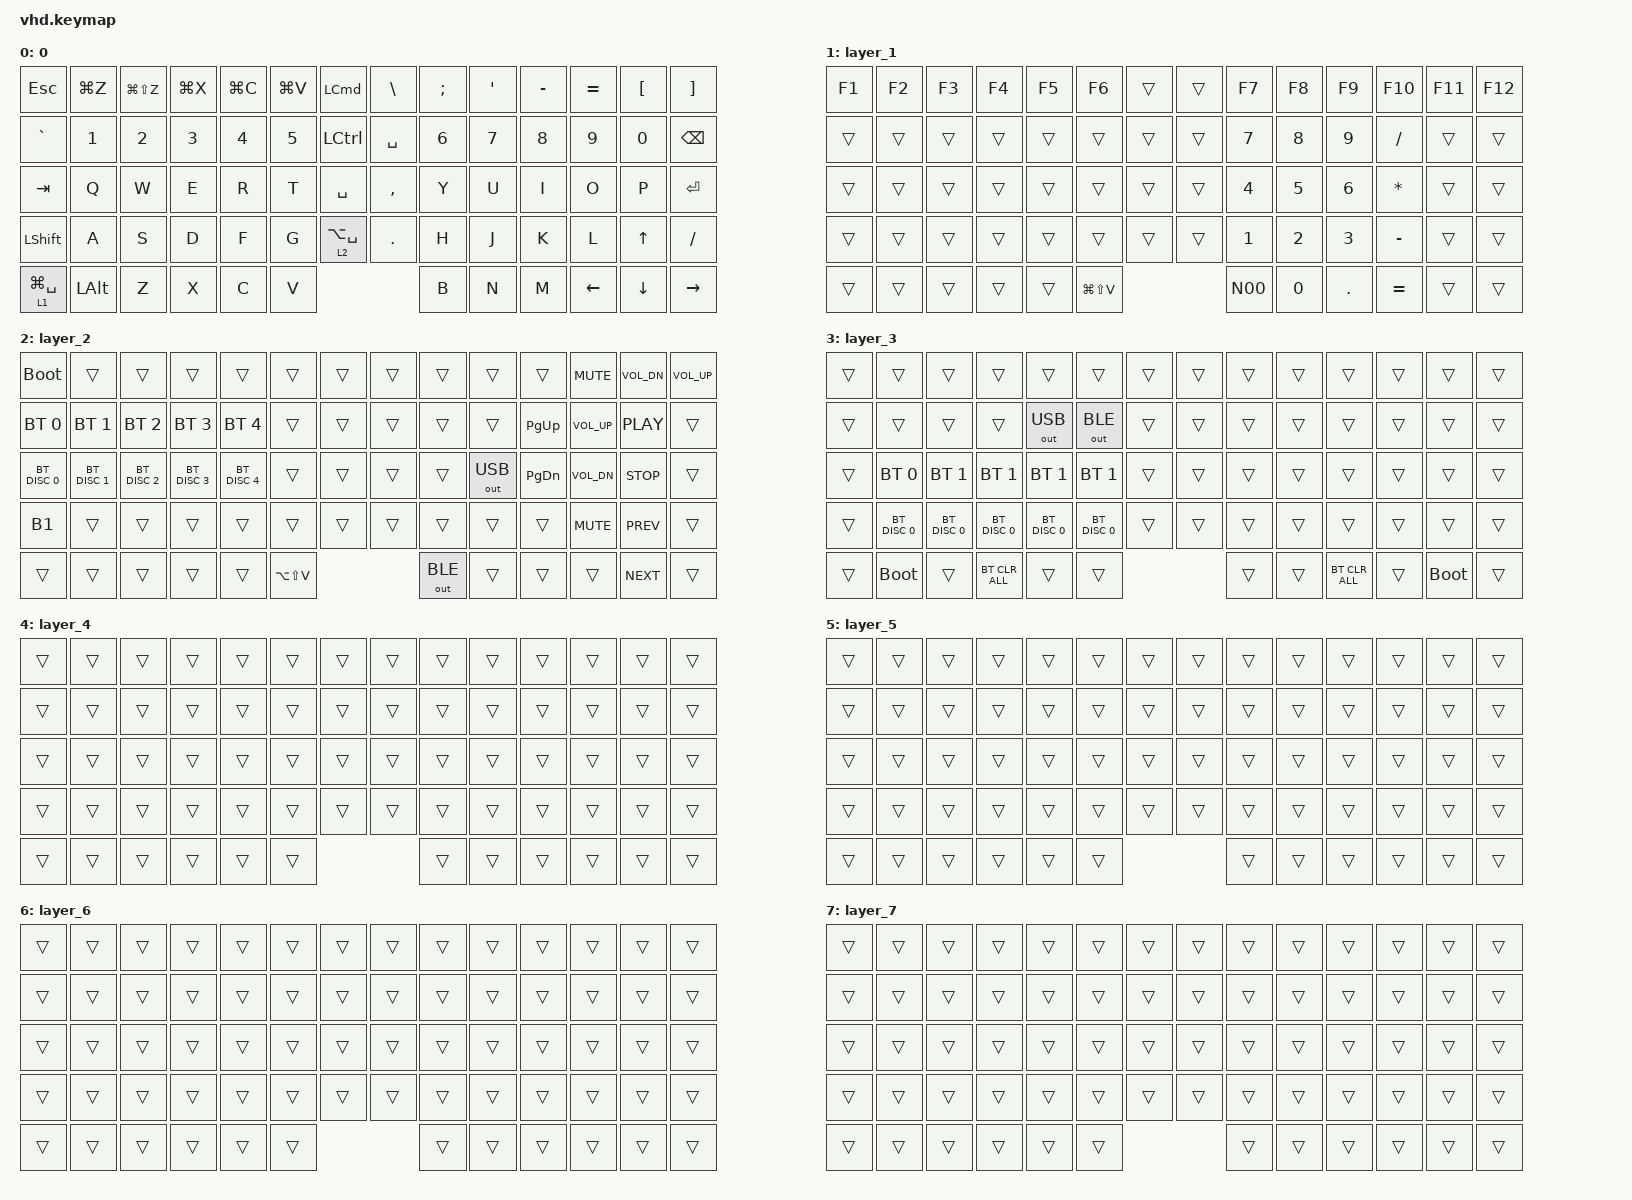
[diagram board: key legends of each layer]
/*
* Copyright (c) 2025 VEXC HOW DESIGN
* Copyright (c) 2020 The ZMK Contributors
*
* SPDX-License-Identifier: MIT
*/
/* THIS FILE WAS GENERATED!
*
* This file was generated automatically. You may or may not want to
* edit it directly.
*/

#include <dt-bindings/zmk/mouse.h>
#include <behaviors.dtsi>
#include <dt-bindings/zmk/bt.h>
#include <dt-bindings/zmk/keys.h>
#include <dt-bindings/zmk/outputs.h>

/ {
    macros {
        N00: N00 {
            compatible = "zmk,behavior-macro";
            #binding-cells = <0>;
            bindings = <&kp N0 &kp N0>;
            label = "N00";
        };

        A1: A1 {
            compatible = "zmk,behavior-macro";
            #binding-cells = <0>;
            bindings = <&kp NUMBER_1 &kp ENTER>;
            label = "A1";
        };

        A2: A2 {
            compatible = "zmk,behavior-macro";
            #binding-cells = <0>;
            bindings = <&kp NUMBER_2 &kp ENTER>;
            label = "A2";
        };

        A3: A3 {
            compatible = "zmk,behavior-macro";
            #binding-cells = <0>;
            bindings = <&kp NUMBER_3 &kp ENTER>;
            label = "A3";
        };

        A4: A4 {
            compatible = "zmk,behavior-macro";
            #binding-cells = <0>;
            bindings = <&kp NUMBER_4 &kp ENTER>;
            label = "A4";
        };

        A5: A5 {
            compatible = "zmk,behavior-macro";
            #binding-cells = <0>;
            bindings = <&kp N5 &kp ENTER>;
            label = "A5";
        };

        A6: A6 {
            compatible = "zmk,behavior-macro";
            #binding-cells = <0>;
            bindings = <&kp NUMBER_6 &kp ENTER>;
            label = "A6";
        };

        A7: A7 {
            compatible = "zmk,behavior-macro";
            #binding-cells = <0>;
            bindings = <&kp N7 &kp ENTER>;
            label = "A7";
        };

        A8: A8 {
            compatible = "zmk,behavior-macro";
            #binding-cells = <0>;
            bindings = <&kp N8 &kp ENTER>;
            label = "A8";
        };

        B1: B1 {
            compatible = "zmk,behavior-macro";
            #binding-cells = <0>;
            bindings = <&kp E &kp G &kp COLON &kp SPACE &kp Y &kp O &kp U &kp R &kp SPACE &kp N &kp A &kp M &kp E>;
            label = "B1";
        };

        B2: B2 {
            compatible = "zmk,behavior-macro";
            #binding-cells = <0>;
            bindings = <&kp E &kp G &kp COLON &kp SPACE &kp Y &kp O &kp U &kp R &kp SPACE &kp P &kp H &kp O &kp N &kp E &kp SPACE &kp N &kp U &kp M &kp B &kp E &kp R>;
            label = "B2";
        };

        B3: B3 {
            compatible = "zmk,behavior-macro";
            #binding-cells = <0>;
            bindings = <&kp E &kp G &kp COLON &kp SPACE &kp Y &kp O &kp U &kp R &kp SPACE &kp E &kp M &kp A &kp I &kp L>;
            label = "B3";
        };

        B4: B4 {
            compatible = "zmk,behavior-macro";
            #binding-cells = <0>;
            bindings = <&kp E &kp G &kp COLON &kp SPACE &kp Y &kp O &kp U &kp R &kp SPACE &kp A &kp D &kp D &kp R &kp E &kp S &kp S>;
            label = "B4";
        };
    };

    behaviors {
        TD1: TD1 {
            compatible = "zmk,behavior-tap-dance";
            label = "TD1";
            #binding-cells = <0>;
            bindings = <&mt LEFT_SHIFT T>, <&kp LG(C)>;
        };
    };

    combos {
        compatible = "zmk,combos";

        Alfred {
            bindings = <&kp LG(SPACE)>;
            key-positions = <18 17>;
        };
    };

    keymap {
        compatible = "zmk,keymap";

        default_layer {
            display-name = "0";
            bindings = <
&kp ESC          &kp LG(Z)     &kp LG(LS(Z))  &kp LG(X)     &kp LG(C)     &kp LG(V)     &kp LEFT_COMMAND  &kp BACKSLASH  &kp SEMICOLON  &kp SINGLE_QUOTE  &kp MINUS     &kp EQUAL       &kp LEFT_BRACKET  &kp RIGHT_BRACKET
&kp GRAVE        &kp NUMBER_1  &kp NUMBER_2   &kp NUMBER_3  &kp NUMBER_4  &kp NUMBER_5  &kp LEFT_CONTROL  &kp SPACE      &kp NUMBER_6   &kp NUMBER_7      &kp NUMBER_8  &kp NUMBER_9    &kp NUMBER_0      &kp BACKSPACE
&kp TAB          &kp Q         &kp W          &kp E         &kp R         &kp T         &kp SPACE         &kp COMMA      &kp Y          &kp U             &kp I         &kp O           &kp P             &kp RETURN
&kp LEFT_SHIFT   &kp A         &kp S          &kp D         &kp F         &kp G         &lt 2 LA(SPACE)   &kp DOT        &kp H          &kp J             &kp K         &kp L           &kp UP_ARROW      &kp SLASH
&lt 1 LG(SPACE)  &kp LEFT_ALT  &kp Z          &kp X         &kp C         &kp V                                          &kp B          &kp N             &kp M         &kp LEFT_ARROW  &kp DOWN_ARROW    &kp RIGHT_ARROW
            >;
        };

        layer_1 {
            bindings = <
&kp F1  &kp F2  &kp F3  &kp F4  &kp F5  &kp F6         &trans  &trans  &kp F7  &kp F8  &kp F9   &kp F10    &kp F11  &kp F12
&trans  &trans  &trans  &trans  &trans  &trans         &trans  &trans  &kp N7  &kp N8  &kp N9   &kp SLASH  &trans   &trans
&trans  &trans  &trans  &trans  &trans  &trans         &trans  &trans  &kp N4  &kp N5  &kp N6   &kp STAR   &trans   &trans
&trans  &trans  &trans  &trans  &trans  &trans         &trans  &trans  &kp N1  &kp N2  &kp N3   &kp MINUS  &trans   &trans
&trans  &trans  &trans  &trans  &trans  &kp LG(LS(V))                  &N00    &kp N0  &kp DOT  &kp EQUAL  &trans   &trans
            >;
        };

        layer_2 {
            bindings = <
&bootloader    &trans         &trans         &trans         &trans         &trans         &trans  &trans  &trans        &trans        &trans         &kp K_MUTE       &kp C_VOL_DN  &kp C_VOLUME_UP
&bt BT_SEL 0   &bt BT_SEL 1   &bt BT_SEL 2   &bt BT_SEL 3   &bt BT_SEL 4   &trans         &trans  &trans  &trans        &trans        &kp PAGE_UP    &kp C_VOLUME_UP  &kp C_PLAY    &trans
&bt BT_DISC 0  &bt BT_DISC 1  &bt BT_DISC 2  &bt BT_DISC 3  &bt BT_DISC 4  &trans         &trans  &trans  &trans        &out OUT_USB  &kp PAGE_DOWN  &kp C_VOL_DN     &kp K_STOP    &trans
&B1            &trans         &trans         &trans         &trans         &trans         &trans  &trans  &trans        &trans        &trans         &kp K_MUTE       &kp K_PREV    &trans
&trans         &trans         &trans         &trans         &trans         &kp LA(LS(V))                  &out OUT_BLE  &trans        &trans         &trans           &kp K_NEXT    &trans
            >;
        };

        layer_3 {
            bindings = <
&trans  &trans         &trans         &trans          &trans         &trans         &trans  &trans  &trans  &trans  &trans          &trans  &trans       &trans
&trans  &trans         &trans         &trans          &out OUT_USB   &out OUT_BLE   &trans  &trans  &trans  &trans  &trans          &trans  &trans       &trans
&trans  &bt BT_SEL 0   &bt BT_SEL 1   &bt BT_SEL 1    &bt BT_SEL 1   &bt BT_SEL 1   &trans  &trans  &trans  &trans  &trans          &trans  &trans       &trans
&trans  &bt BT_DISC 0  &bt BT_DISC 0  &bt BT_DISC 0   &bt BT_DISC 0  &bt BT_DISC 0  &trans  &trans  &trans  &trans  &trans          &trans  &trans       &trans
&trans  &bootloader    &trans         &bt BT_CLR_ALL  &trans         &trans                         &trans  &trans  &bt BT_CLR_ALL  &trans  &bootloader  &trans
            >;
        };

        layer_4 {
            bindings = <
&trans  &trans  &trans  &trans  &trans  &trans  &trans  &trans  &trans  &trans  &trans  &trans  &trans  &trans
&trans  &trans  &trans  &trans  &trans  &trans  &trans  &trans  &trans  &trans  &trans  &trans  &trans  &trans
&trans  &trans  &trans  &trans  &trans  &trans  &trans  &trans  &trans  &trans  &trans  &trans  &trans  &trans
&trans  &trans  &trans  &trans  &trans  &trans  &trans  &trans  &trans  &trans  &trans  &trans  &trans  &trans
&trans  &trans  &trans  &trans  &trans  &trans                  &trans  &trans  &trans  &trans  &trans  &trans
            >;
        };

        layer_5 {
            bindings = <
&trans  &trans  &trans  &trans  &trans  &trans  &trans  &trans  &trans  &trans  &trans  &trans  &trans  &trans
&trans  &trans  &trans  &trans  &trans  &trans  &trans  &trans  &trans  &trans  &trans  &trans  &trans  &trans
&trans  &trans  &trans  &trans  &trans  &trans  &trans  &trans  &trans  &trans  &trans  &trans  &trans  &trans
&trans  &trans  &trans  &trans  &trans  &trans  &trans  &trans  &trans  &trans  &trans  &trans  &trans  &trans
&trans  &trans  &trans  &trans  &trans  &trans                  &trans  &trans  &trans  &trans  &trans  &trans
            >;
        };

        layer_6 {
            bindings = <
&trans  &trans  &trans  &trans  &trans  &trans  &trans  &trans  &trans  &trans  &trans  &trans  &trans  &trans
&trans  &trans  &trans  &trans  &trans  &trans  &trans  &trans  &trans  &trans  &trans  &trans  &trans  &trans
&trans  &trans  &trans  &trans  &trans  &trans  &trans  &trans  &trans  &trans  &trans  &trans  &trans  &trans
&trans  &trans  &trans  &trans  &trans  &trans  &trans  &trans  &trans  &trans  &trans  &trans  &trans  &trans
&trans  &trans  &trans  &trans  &trans  &trans                  &trans  &trans  &trans  &trans  &trans  &trans
            >;
        };

        layer_7 {
            bindings = <
&trans  &trans  &trans  &trans  &trans  &trans  &trans  &trans  &trans  &trans  &trans  &trans  &trans  &trans
&trans  &trans  &trans  &trans  &trans  &trans  &trans  &trans  &trans  &trans  &trans  &trans  &trans  &trans
&trans  &trans  &trans  &trans  &trans  &trans  &trans  &trans  &trans  &trans  &trans  &trans  &trans  &trans
&trans  &trans  &trans  &trans  &trans  &trans  &trans  &trans  &trans  &trans  &trans  &trans  &trans  &trans
&trans  &trans  &trans  &trans  &trans  &trans                  &trans  &trans  &trans  &trans  &trans  &trans
            >;
        };
    };

    conditional_layers {
        compatible = "zmk,conditional-layers";

        Adjust {
            if-layers = <1 2>;
            then-layer = <3>;
        };
    };
};
